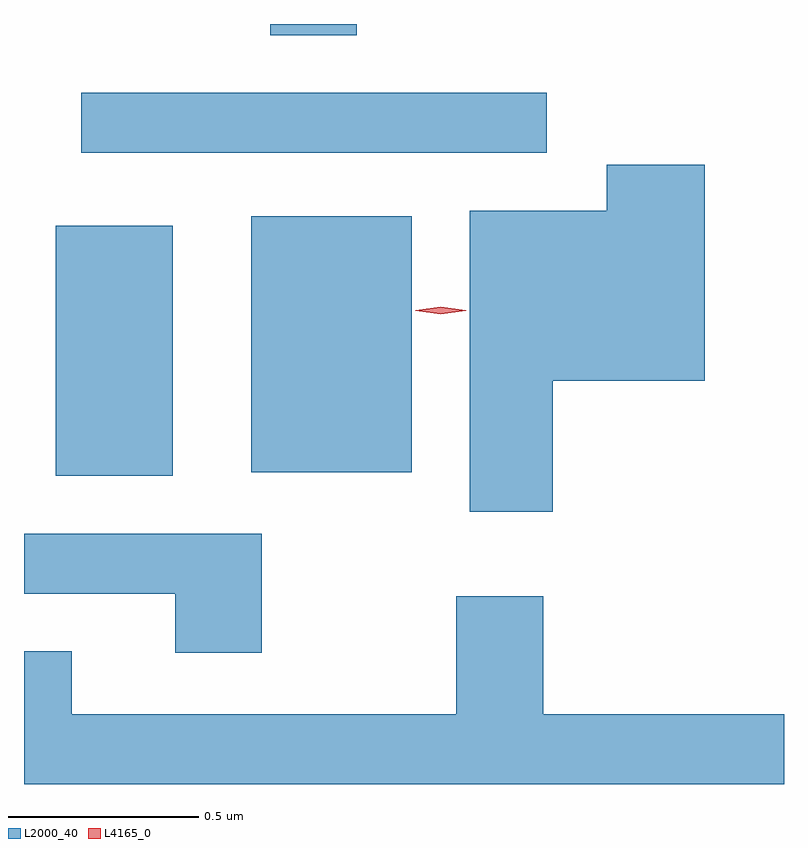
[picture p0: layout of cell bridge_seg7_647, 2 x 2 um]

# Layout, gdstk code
import gdstk
lib = gdstk.Library(unit=1e-6, precision=1e-09)
def R(c, l, rs):  # rectangles x0, y0, x1, y1
    for r in rs: c.add(gdstk.rectangle(r[:2], r[2:], *l))
def P(c, l, *ps):  # polygons
    for p in ps: c.add(gdstk.Polygon(p, *l))
L2000_40 = (2000, 40)
L4165_0 = (4165, 0)

bridge_seg7_647 = lib.new_cell('bridge_seg7_647')
R(bridge_seg7_647, L2000_40, [(750.316,1715.211,750.624,1715.869), (750.831,1715.221,751.254,1715.894), (750.383,1716.061,751.608,1716.219), (750.881,1716.371,751.109,1716.4)])
P(bridge_seg7_647, L2000_40, [(751.624,1715.461),(752.024,1715.461),(752.024,1716.029),(751.766,1716.029),(751.766,1715.909),(751.406,1715.909),(751.406,1715.116),(751.624,1715.116)],
  [(750.859,1715.059),(750.233,1715.059),(750.233,1714.901),(750.631,1714.901),(750.631,1714.746),(750.859,1714.746)],
  [(752.233,1714.584),(751.599,1714.584),(751.599,1714.894),(751.371,1714.894),(751.371,1714.584),(750.359,1714.584),(750.359,1714.749),(750.233,1714.749),(750.233,1714.4),(752.233,1714.4)])
P(bridge_seg7_647, L4165_0, [(751.33,1715.636),(751.264,1715.646),(751.263,1715.646),(751.264,1715.647),(751.33,1715.656),(751.396,1715.647),(751.397,1715.646),(751.396,1715.646)])

lib.write_gds('bridge_seg7_647.gds')
